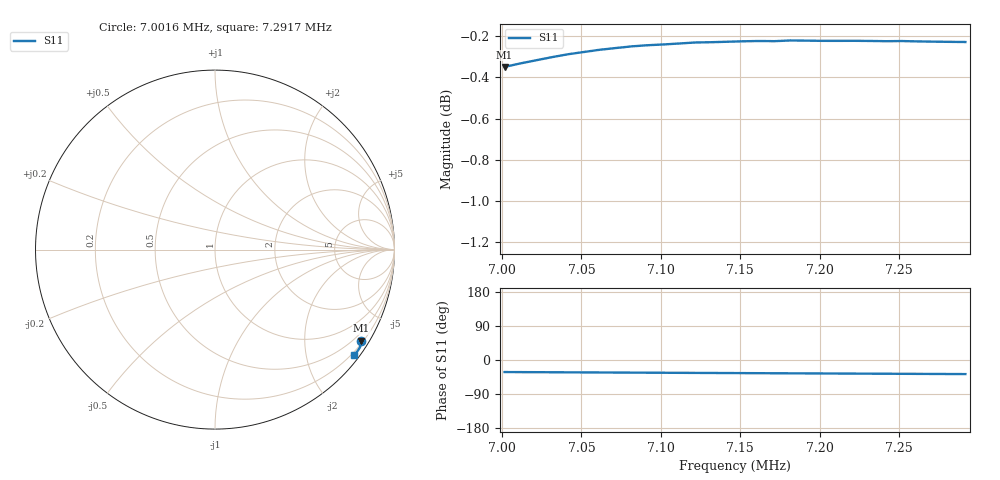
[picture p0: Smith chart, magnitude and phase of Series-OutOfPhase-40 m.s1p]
# HZ S RI R 50
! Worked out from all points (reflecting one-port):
!   30 points, 7.0016 MHz to 7.2917 MHz, reference 50 ohm
!   lowest |S11| = -0.3 dB at 7.0016 MHz (marker M1), VSWR 49.76, Z = 13.3 - j174 ohm
!   phase of S11 starts at -32 deg and turns -5 deg over the sweep
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7001600  0.8161 -0.5066
7011604  0.8164 -0.5098
7021608  0.8163 -0.5131
7031612  0.8162 -0.5164
7041616  0.8153 -0.5207
7051620  0.8147 -0.5239
7061624  0.8141 -0.5271
7081632  0.8121 -0.5336
7091636  0.811 -0.5364
7101640  0.8095 -0.5394
7111644  0.8081 -0.5425
7121648  0.8068 -0.5454
7131652  0.8051 -0.5481
7141656  0.8035 -0.5509
7151660  0.802 -0.5535
7161664  0.8003 -0.5562
7171668  0.7984 -0.5588
7181672  0.7969 -0.5616
7191676  0.795 -0.5641
7201680  0.7932 -0.5665
7211684  0.7913 -0.5691
7221688  0.7896 -0.5716
7231692  0.7877 -0.574
7241696  0.7857 -0.5765
7251700  0.7839 -0.5791
7261704  0.7819 -0.5814
7271708  0.78 -0.5838
7291716  0.7761 -0.5886
